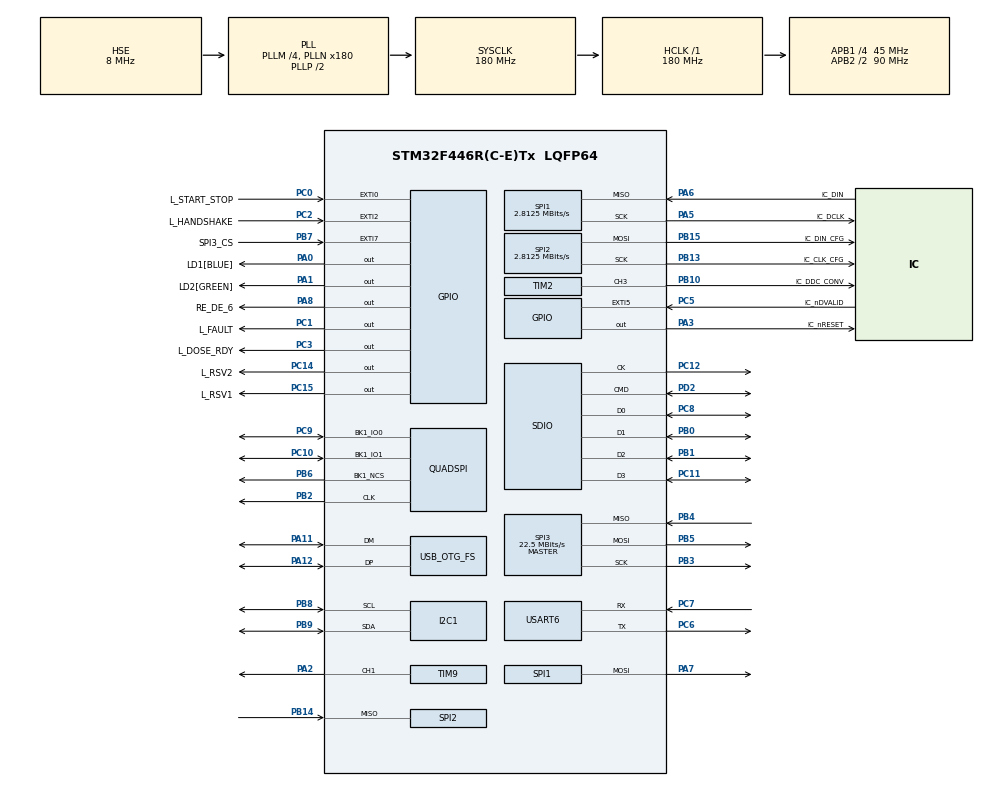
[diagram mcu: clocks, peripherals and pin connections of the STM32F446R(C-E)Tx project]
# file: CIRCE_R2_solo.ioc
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Dma.Request0=SPI1_RX
Dma.Request1=SPI1_TX
Dma.Request2=USART6_RX
Dma.Request3=SDIO
Dma.Request4=USART6_TX
Dma.SDIO.3.Direction=DMA_PERIPH_TO_MEMORY
Dma.SDIO.3.FIFOMode=DMA_FIFOMODE_ENABLE
Dma.SDIO.3.FIFOThreshold=DMA_FIFO_THRESHOLD_FULL
Dma.SDIO.3.Instance=DMA2_Stream3
Dma.SDIO.3.MemBurst=DMA_MBURST_INC4
Dma.SDIO.3.MemDataAlignment=DMA_MDATAALIGN_WORD
Dma.SDIO.3.MemInc=DMA_MINC_ENABLE
Dma.SDIO.3.Mode=DMA_PFCTRL
Dma.SDIO.3.PeriphBurst=DMA_PBURST_INC4
Dma.SDIO.3.PeriphDataAlignment=DMA_PDATAALIGN_WORD
Dma.SDIO.3.PeriphInc=DMA_PINC_DISABLE
Dma.SDIO.3.Priority=DMA_PRIORITY_LOW
Dma.SPI1_RX.0.Direction=DMA_PERIPH_TO_MEMORY
Dma.SPI1_RX.0.FIFOMode=DMA_FIFOMODE_DISABLE
Dma.SPI1_RX.0.Instance=DMA2_Stream0
Dma.SPI1_RX.0.MemDataAlignment=DMA_MDATAALIGN_HALFWORD
Dma.SPI1_RX.0.MemInc=DMA_MINC_ENABLE
Dma.SPI1_RX.0.Mode=DMA_NORMAL
Dma.SPI1_RX.0.PeriphDataAlignment=DMA_PDATAALIGN_HALFWORD
Dma.SPI1_RX.0.PeriphInc=DMA_PINC_DISABLE
Dma.SPI1_RX.0.Priority=DMA_PRIORITY_LOW
Dma.SPI1_TX.1.Direction=DMA_MEMORY_TO_PERIPH
Dma.SPI1_TX.1.FIFOMode=DMA_FIFOMODE_DISABLE
Dma.SPI1_TX.1.Instance=DMA2_Stream5
Dma.SPI1_TX.1.MemDataAlignment=DMA_MDATAALIGN_HALFWORD
Dma.SPI1_TX.1.MemInc=DMA_MINC_ENABLE
Dma.SPI1_TX.1.Mode=DMA_NORMAL
Dma.SPI1_TX.1.PeriphDataAlignment=DMA_PDATAALIGN_HALFWORD
Dma.SPI1_TX.1.PeriphInc=DMA_PINC_DISABLE
Dma.SPI1_TX.1.Priority=DMA_PRIORITY_LOW
Dma.USART6_RX.2.Direction=DMA_PERIPH_TO_MEMORY
Dma.USART6_RX.2.FIFOMode=DMA_FIFOMODE_DISABLE
Dma.USART6_RX.2.Instance=DMA2_Stream1
Dma.USART6_RX.2.MemDataAlignment=DMA_MDATAALIGN_BYTE
Dma.USART6_RX.2.MemInc=DMA_MINC_ENABLE
Dma.USART6_RX.2.Mode=DMA_NORMAL
Dma.USART6_RX.2.PeriphDataAlignment=DMA_PDATAALIGN_BYTE
Dma.USART6_RX.2.PeriphInc=DMA_PINC_DISABLE
Dma.USART6_RX.2.Priority=DMA_PRIORITY_LOW
Dma.USART6_TX.4.Direction=DMA_MEMORY_TO_PERIPH
Dma.USART6_TX.4.FIFOMode=DMA_FIFOMODE_DISABLE
Dma.USART6_TX.4.Instance=DMA2_Stream6
Dma.USART6_TX.4.MemDataAlignment=DMA_MDATAALIGN_BYTE
Dma.USART6_TX.4.MemInc=DMA_MINC_ENABLE
Dma.USART6_TX.4.Mode=DMA_NORMAL
Dma.USART6_TX.4.PeriphDataAlignment=DMA_PDATAALIGN_BYTE
Dma.USART6_TX.4.PeriphInc=DMA_PINC_DISABLE
Dma.USART6_TX.4.Priority=DMA_PRIORITY_LOW
IWDG.Prescaler=IWDG_PRESCALER_64
IWDG.Reload=4000
Mcu.Family=STM32F4
Mcu.Name=STM32F446R(C-E)Tx
Mcu.Package=LQFP64
NVIC.DMA2_Stream0_IRQn=true\:1\:0\:false\:false\:true\:false\:true\:true
NVIC.DMA2_Stream1_IRQn=true\:0\:0\:false\:false\:true\:false\:true\:true
NVIC.DMA2_Stream3_IRQn=true\:0\:0\:false\:false\:true\:false\:true\:true
NVIC.DMA2_Stream5_IRQn=true\:0\:0\:false\:false\:true\:false\:true\:true
NVIC.DMA2_Stream6_IRQn=true\:0\:0\:false\:false\:true\:false\:true\:true
NVIC.EXTI0_IRQn=true\:0\:0\:false\:false\:true\:true\:true\:true
NVIC.EXTI2_IRQn=true\:0\:0\:false\:false\:true\:true\:true\:true
NVIC.EXTI9_5_IRQn=true\:0\:0\:false\:false\:true\:true\:true\:true
NVIC.OTG_FS_IRQn=true\:0\:0\:false\:false\:true\:false\:true\:true
NVIC.PriorityGroup=NVIC_PRIORITYGROUP_4
NVIC.SDIO_IRQn=true\:0\:0\:false\:false\:true\:true\:true\:true
NVIC.SPI1_IRQn=true\:0\:0\:false\:false\:true\:true\:true\:true
NVIC.USART6_IRQn=true\:0\:0\:false\:false\:true\:true\:true\:true
PA0-WKUP.GPIO_Label=LD1[BLUE]
PA0-WKUP.GPIO_PuPd=GPIO_PULLDOWN
PA0-WKUP.Signal=GPIO_Output
PA1.GPIO_Label=LD2[GREEN]
PA1.GPIO_PuPd=GPIO_PULLDOWN
PA1.Signal=GPIO_Output
PA11.GPIO_Speed=GPIO_SPEED_FREQ_LOW
PA11.Mode=Device_Only
PA11.Signal=USB_OTG_FS_DM
PA12.GPIO_Speed=GPIO_SPEED_FREQ_LOW
PA12.Mode=Device_Only
PA12.Signal=USB_OTG_FS_DP
PA13.Mode=Serial_Wire
PA13.Signal=SYS_JTMS-SWDIO
PA14.Mode=Serial_Wire
PA14.Signal=SYS_JTCK-SWCLK
PA2.Signal=S_TIM9_CH1
PA3.GPIO_Label=IC_nRESET
PA3.GPIO_PuPd=GPIO_PULLUP
PA3.PinState=GPIO_PIN_SET
PA3.Signal=GPIO_Output
PA5.GPIO_Label=IC_DCLK
PA5.GPIO_Mode=GPIO_MODE_AF_PP
PA5.GPIO_PuPd=GPIO_NOPULL
PA5.GPIO_Speed=GPIO_SPEED_FREQ_LOW
PA5.Mode=Full_Duplex_Master
PA5.Signal=SPI1_SCK
PA6.GPIO_Label=IC_DIN
PA6.GPIO_PuPd=GPIO_NOPULL
PA6.GPIO_Speed=GPIO_SPEED_FREQ_LOW
PA6.Mode=Full_Duplex_Master
PA6.Signal=SPI1_MISO
PA7.GPIO_Speed=GPIO_SPEED_FREQ_LOW
PA7.Mode=Full_Duplex_Master
PA7.Signal=SPI1_MOSI
PA8.GPIO_Label=RE_DE_6
PA8.GPIO_PuPd=GPIO_NOPULL
PA8.Signal=GPIO_Output
PB0.GPIO_PuPd=GPIO_PULLUP
PB0.GPIO_Speed_High_Default=GPIO_SPEED_FREQ_LOW
PB0.Mode=SD_4_bits_Wide_bus
PB0.Signal=SDIO_D1
PB1.GPIO_PuPd=GPIO_PULLUP
PB1.GPIO_Speed_High_Default=GPIO_SPEED_FREQ_LOW
PB1.Mode=SD_4_bits_Wide_bus
PB1.Signal=SDIO_D2
PB10.GPIO_Label=IC_DDC_CONV
PB10.GPIO_Speed=GPIO_SPEED_FREQ_HIGH
PB10.Signal=S_TIM2_CH3
PB13.GPIO_Label=IC_CLK_CFG
PB13.GPIO_Speed=GPIO_SPEED_FREQ_LOW
PB13.Mode=Full_Duplex_Master
PB13.Signal=SPI2_SCK
PB14.GPIO_Speed=GPIO_SPEED_FREQ_LOW
PB14.Mode=Full_Duplex_Master
PB14.Signal=SPI2_MISO
PB15.GPIO_Label=IC_DIN_CFG
PB15.GPIO_Speed=GPIO_SPEED_FREQ_LOW
PB15.Mode=Full_Duplex_Master
PB15.Signal=SPI2_MOSI
PB2.GPIO_Speed=GPIO_SPEED_FREQ_LOW
PB2.Mode=Single Bank 1 2IOs
PB2.Signal=QUADSPI_CLK
PB3.GPIO_Speed=GPIO_SPEED_FREQ_LOW
PB3.Mode=Full_Duplex_Master
PB3.Signal=SPI3_SCK
PB4.GPIO_PuPd=GPIO_NOPULL
PB4.GPIO_Speed=GPIO_SPEED_FREQ_LOW
PB4.Mode=Full_Duplex_Master
PB4.Signal=SPI3_MISO
PB5.GPIO_PuPd=GPIO_NOPULL
PB5.GPIO_Speed=GPIO_SPEED_FREQ_LOW
PB5.Mode=Full_Duplex_Master
PB5.Signal=SPI3_MOSI
PB6.GPIO_Speed=GPIO_SPEED_FREQ_LOW
PB6.Mode=Single Bank 1 2IOs
PB6.Signal=QUADSPI_BK1_NCS
PB7.GPIO_Label=SPI3_CS
PB7.GPIO_PuPd=GPIO_PULLDOWN
PB7.Signal=GPXTI7
PB8.GPIO_Speed=GPIO_SPEED_FREQ_LOW
PB8.Mode=I2C
PB8.Signal=I2C1_SCL
PB9.GPIO_Speed=GPIO_SPEED_FREQ_LOW
PB9.Mode=I2C
PB9.Signal=I2C1_SDA
PC0.GPIO_Label=L_START_STOP
PC0.GPIO_PuPd=GPIO_NOPULL
PC0.Signal=GPXTI0
PC1.GPIO_Label=L_FAULT
PC1.GPIO_PuPd=GPIO_PULLDOWN
PC1.Signal=GPIO_Output
PC10.GPIO_Speed=GPIO_SPEED_FREQ_LOW
PC10.Mode=Single Bank 1 2IOs
PC10.Signal=QUADSPI_BK1_IO1
PC11.GPIO_PuPd=GPIO_PULLUP
PC11.GPIO_Speed_High_Default=GPIO_SPEED_FREQ_LOW
PC11.Mode=SD_4_bits_Wide_bus
PC11.Signal=SDIO_D3
PC12.GPIO_Speed_High_Default=GPIO_SPEED_FREQ_LOW
PC12.Mode=SD_4_bits_Wide_bus
PC12.Signal=SDIO_CK
PC14-OSC32_IN.GPIO_Label=L_RSV2
PC14-OSC32_IN.Signal=GPIO_Output
PC15-OSC32_OUT.GPIO_Label=L_RSV1
PC15-OSC32_OUT.Signal=GPIO_Output
PC2.GPIO_Label=L_HANDSHAKE
PC2.GPIO_ModeDefaultEXTI=GPIO_MODE_IT_RISING
PC2.Signal=GPXTI2
PC3.GPIO_Label=L_DOSE_RDY
PC3.GPIO_PuPd=GPIO_PULLDOWN
PC3.Signal=GPIO_Output
PC5.GPIO_Label=IC_nDVALID
PC5.GPIO_ModeDefaultEXTI=GPIO_MODE_IT_FALLING
PC5.GPIO_PuPd=GPIO_NOPULL
PC5.Signal=GPXTI5
PC6.GPIO_PuPd=GPIO_NOPULL
PC6.GPIO_Speed=GPIO_SPEED_FREQ_LOW
PC6.Mode=Asynchronous
PC6.Signal=USART6_TX
PC7.GPIO_Speed=GPIO_SPEED_FREQ_LOW
PC7.Mode=Asynchronous
PC7.Signal=USART6_RX
PC8.GPIO_PuPd=GPIO_PULLUP
PC8.GPIO_Speed_High_Default=GPIO_SPEED_FREQ_LOW
PC8.Mode=SD_4_bits_Wide_bus
PC8.Signal=SDIO_D0
PC9.GPIO_Speed=GPIO_SPEED_FREQ_LOW
PC9.Mode=Single Bank 1 2IOs
PC9.Signal=QUADSPI_BK1_IO0
PD2.GPIO_PuPd=GPIO_PULLUP
PD2.GPIO_Speed_High_Default=GPIO_SPEED_FREQ_LOW
PD2.Mode=SD_4_bits_Wide_bus
PD2.Signal=SDIO_CMD
PH0-OSC_IN.Mode=HSE-External-Oscillator
PH0-OSC_IN.Signal=RCC_OSC_IN
PH1-OSC_OUT.Mode=HSE-External-Oscillator
PH1-OSC_OUT.Signal=RCC_OSC_OUT
ProjectManager.HeapSize=0x200
ProjectManager.StackSize=0x400
ProjectManager.TargetToolchain=STM32CubeIDE
QUADSPI.SampleShifting=QSPI_SAMPLE_SHIFTING_NONE
RCC.AHBFreq_Value=180000000
RCC.APB1CLKDivider=RCC_HCLK_DIV4
RCC.APB1Freq_Value=45000000
RCC.APB1TimFreq_Value=90000000
RCC.APB2CLKDivider=RCC_HCLK_DIV2
RCC.APB2Freq_Value=90000000
RCC.APB2TimFreq_Value=180000000
RCC.CortexFreq_Value=180000000
RCC.HCLKFreq_Value=180000000
RCC.HSE_VALUE=8000000
RCC.PLLI2SM=8
RCC.PLLI2SN=100
RCC.PLLM=4
RCC.PLLN=180
RCC.PLLQ=7
RCC.PLLSAIM=4
RCC.PLLSAIP=RCC_PLLSAIP_DIV8
RCC.PLLSourceVirtual=RCC_PLLSOURCE_HSE
RCC.RCC_MCO2Source=RCC_MCO2SOURCE_HSE
RCC.RCC_MCODiv1=RCC_MCODIV_4
RCC.SYSCLKFreq_VALUE=180000000
RCC.SYSCLKSource=RCC_SYSCLKSOURCE_PLLCLK
RCC.USBCLockSelection=RCC_CLK48CLKSOURCE_PLLSAIP
RCC.USBFreq_Value=48000000
RCC.VCOOutputFreq_Value=360000000
SH.S_TIM2_CH3.0=TIM2_CH3,PWM Generation3 CH3
SH.S_TIM9_CH1.0=TIM9_CH1,PWM Generation1 CH1
SPI1.BaudRatePrescaler=SPI_BAUDRATEPRESCALER_32
SPI1.CalculateBaudRate=2.8125 MBits/s
SPI1.DataSize=SPI_DATASIZE_16BIT
SPI1.Direction=SPI_DIRECTION_2LINES
SPI1.Mode=SPI_MODE_MASTER
SPI1.VirtualType=VM_MASTER
SPI2.BaudRatePrescaler=SPI_BAUDRATEPRESCALER_16
SPI2.CalculateBaudRate=2.8125 MBits/s
SPI2.DataSize=SPI_DATASIZE_16BIT
SPI2.Direction=SPI_DIRECTION_2LINES
SPI2.Mode=SPI_MODE_MASTER
SPI2.VirtualType=VM_MASTER
SPI3.BaudRatePrescaler=SPI_BAUDRATEPRESCALER_2
SPI3.CalculateBaudRate=22.5 MBits/s
SPI3.Direction=SPI_DIRECTION_2LINES
SPI3.Mode=SPI_MODE_MASTER
SPI3.VirtualType=VM_MASTER
TIM2.Channel-PWM\ Generation3\ CH3=TIM_CHANNEL_3
TIM2.Period=499
TIM2.Prescaler=89
TIM9.Channel-PWM\ Generation1\ CH1=TIM_CHANNEL_1
TIM9.Period=17
TIM9.Pulse-PWM\ Generation1\ CH1=8
USART6.VirtualMode=VM_ASYNC
USB_DEVICE.CLASS_NAME_FS=CDC
USB_DEVICE.VirtualMode-CDC_FS=Cdc
USB_DEVICE.VirtualModeFS=Cdc_FS
USB_OTG_FS.VirtualMode=Device_Only
VP_IWDG_VS_IWDG.Mode=IWDG_Activate
VP_TIM2_VS_ClockSourceINT.Mode=Internal
VP_USB_DEVICE_VS_USB_DEVICE_CDC_FS.Mode=CDC_FS
board=custom

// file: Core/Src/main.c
/* USER CODE BEGIN Header */
/**
 ******************************************************************************
 * @file           : main.c
 * @brief          : Main program body
 ******************************************************************************
 * @attention
 *
 * Copyright (c) 2025 STMicroelectronics.
 * All rights reserved.
 *
 * This software is licensed under terms that can be found in the LICENSE file
 * in the root directory of this software component.
 * If no LICENSE file comes with this software, it is provided AS-IS.
 *
 ******************************************************************************
 */
/* USER CODE END Header */
#include "main.h"
#include "usb_device.h"

/* USER CODE BEGIN Includes */
#include "usbd_cdc_if.h"
#include "IC_ADC64.h"
#include "USART_cmd.h"
#include "delay_micros.h"
#include "common.h"
/* USER CODE END Includes */

/* USER CODE BEGIN PD */
#define USB_BUFFLEN 500
/* USER CODE END PD */

I2C_HandleTypeDef hi2c1;

IWDG_HandleTypeDef hiwdg;

QSPI_HandleTypeDef hqspi;

SD_HandleTypeDef hsd;
DMA_HandleTypeDef hdma_sdio;

SPI_HandleTypeDef hspi1;
SPI_HandleTypeDef hspi2;
SPI_HandleTypeDef hspi3;
DMA_HandleTypeDef hdma_spi1_rx;
DMA_HandleTypeDef hdma_spi1_tx;

TIM_HandleTypeDef htim2;
TIM_HandleTypeDef htim9;

UART_HandleTypeDef huart6;
DMA_HandleTypeDef hdma_usart6_rx;
DMA_HandleTypeDef hdma_usart6_tx;

/* USER CODE BEGIN PV */
extern char str[100];
volatile uint8_t rx_index = 0;
volatile uint8_t reception_complete = 0;
extern void string_parse();
extern void IC_Read_cmd_UART();
extern bool USART_CMD_ON;
//extern IC_Data_t IC_Data;
volatile IC_state state;
//extern bool USART_CMD_ON;
extern IC_Mode_t IC_Mode;
uint8_t usbTxBuf[USB_BUFFLEN];
uint16_t usbTxBufLen;
uint8_t usbRxBuf[USB_BUFFLEN];
uint16_t usbRxBufLen;
volatile bool usbRxFlag;
bool irq_on_off;
bool line_is_busy = false;
bool start_reading = false;
//RTC_TimeTypeDef sTime = {0};
//RTC_DateTypeDef DateToUpdate = {0};
/* USER CODE END PV */

void SystemClock_Config(void);
void PeriphCommonClock_Config(void);
static void MX_GPIO_Init(void);
static void MX_DMA_Init(void);
static void MX_SPI1_Init(void);
static void MX_SPI2_Init(void);
static void MX_TIM2_Init(void);
static void MX_SPI3_Init(void);
static void MX_SDIO_SD_Init(void);
static void MX_USART6_UART_Init(void);
static void MX_I2C1_Init(void);
static void MX_QUADSPI_Init(void);
static void MX_TIM9_Init(void);
static void MX_IWDG_Init(void);
/* USER CODE BEGIN PFP */
void Reset_SPI_DMA();
/* USER CODE END PFP */

int main(void)
{

  /* MCU Configuration--------------------------------------------------------*/

  /* Reset of all peripherals, Initializes the Flash interface and the Systick. */
  HAL_Init();

  /* Configure the system clock */
  SystemClock_Config();

  /* Configure the peripherals common clocks */
  PeriphCommonClock_Config();

  /* Initialize all configured peripherals */
  MX_GPIO_Init();
  MX_DMA_Init();
  MX_SPI1_Init();
  MX_SPI2_Init();
  MX_TIM2_Init();
  MX_USB_DEVICE_Init();
  MX_SPI3_Init();
  MX_SDIO_SD_Init();
  MX_USART6_UART_Init();
  MX_I2C1_Init();
  MX_QUADSPI_Init();
  MX_TIM9_Init();
  MX_IWDG_Init();
  /* USER CODE BEGIN 2 */
  HAL_UART_Receive_DMA(&out_huart, (uint8_t*)str, 10);
  //set parse function for uart
  USART_set_parse_func(IC_Read_cmd_UART);

  DWT_Init();	//start us timer
  HAL_GPIO_WritePin(LD1_GPIO_Port,LD1_Pin,SET);
  HAL_GPIO_WritePin(LD2_GPIO_Port,LD2_Pin,SET);
  HAL_Delay(500);
  HAL_GPIO_WritePin(LD1_GPIO_Port,LD1_Pin,RESET);
  HAL_GPIO_WritePin(LD2_GPIO_Port,LD2_Pin,RESET);
  printf("[INFO] START F4\n");
  state = STATE_WAIT;
  HAL_TIM_PWM_Start(&clk_timer, clk_channel); //start clk

  /* USER CODE END 2 */

  /* Infinite loop */
	while (1)
	{

    /* USER CODE BEGIN 3 */
		switch(state){
		case STATE_WAIT:
			break;
		case STATE_READING:
			state = STATE_WAIT;
			IC_ReadADC();
			break;
		case STATE_PROCESSING:
			state = STATE_WAIT;
			IC_ReadADC_Complete();
			break;
		case STATE_CMD:
			IC_Read_cmd_UART(str);
			state = STATE_WAIT;
			break;

		}

		if(usbRxFlag == true){
			usbRxFlag = false;
			string_parse((char*)usbRxBuf);
		}

		//HAL_GPIO_TogglePin(test_GPIO_Port,test_Pin);
	}
  /* USER CODE END 3 */
}

void SystemClock_Config(void)
{
  RCC_OscInitTypeDef RCC_OscInitStruct = {0};
  RCC_ClkInitTypeDef RCC_ClkInitStruct = {0};

  /** Configure the main internal regulator output voltage
  */
  __HAL_RCC_PWR_CLK_ENABLE();
  __HAL_PWR_VOLTAGESCALING_CONFIG(PWR_REGULATOR_VOLTAGE_SCALE1);

  /** Initializes the RCC Oscillators according to the specified parameters
  * in the RCC_OscInitTypeDef structure.
  */
  RCC_OscInitStruct.OscillatorType = RCC_OSCILLATORTYPE_LSI|RCC_OSCILLATORTYPE_HSE;
  RCC_OscInitStruct.HSEState = RCC_HSE_ON;
  RCC_OscInitStruct.LSIState = RCC_LSI_ON;
  RCC_OscInitStruct.PLL.PLLState = RCC_PLL_ON;
  RCC_OscInitStruct.PLL.PLLSource = RCC_PLLSOURCE_HSE;
  RCC_OscInitStruct.PLL.PLLM = 4;
  RCC_OscInitStruct.PLL.PLLN = 180;
  RCC_OscInitStruct.PLL.PLLP = RCC_PLLP_DIV2;
  RCC_OscInitStruct.PLL.PLLQ = 7;
  RCC_OscInitStruct.PLL.PLLR = 2;
  if (HAL_RCC_OscConfig(&RCC_OscInitStruct) != HAL_OK)
  {
    Error_Handler();
  }

  /** Activate the Over-Drive mode
  */
  if (HAL_PWREx_EnableOverDrive() != HAL_OK)
  {
    Error_Handler();
  }

  /** Initializes the CPU, AHB and APB buses clocks
  */
  RCC_ClkInitStruct.ClockType = RCC_CLOCKTYPE_HCLK|RCC_CLOCKTYPE_SYSCLK
                              |RCC_CLOCKTYPE_PCLK1|RCC_CLOCKTYPE_PCLK2;
  RCC_ClkInitStruct.SYSCLKSource = RCC_SYSCLKSOURCE_PLLCLK;
  RCC_ClkInitStruct.AHBCLKDivider = RCC_SYSCLK_DIV1;
  RCC_ClkInitStruct.APB1CLKDivider = RCC_HCLK_DIV4;
  RCC_ClkInitStruct.APB2CLKDivider = RCC_HCLK_DIV2;

  if (HAL_RCC_ClockConfig(&RCC_ClkInitStruct, FLASH_LATENCY_5) != HAL_OK)
  {
    Error_Handler();
  }
}

void PeriphCommonClock_Config(void)
{
  RCC_PeriphCLKInitTypeDef PeriphClkInitStruct = {0};

  /** Initializes the peripherals clock
  */
  PeriphClkInitStruct.PeriphClockSelection = RCC_PERIPHCLK_SDIO|RCC_PERIPHCLK_CLK48;
  PeriphClkInitStruct.PLLSAI.PLLSAIM = 4;
  PeriphClkInitStruct.PLLSAI.PLLSAIN = 192;
  PeriphClkInitStruct.PLLSAI.PLLSAIQ = 2;
  PeriphClkInitStruct.PLLSAI.PLLSAIP = RCC_PLLSAIP_DIV8;
  PeriphClkInitStruct.PLLSAIDivQ = 1;
  PeriphClkInitStruct.Clk48ClockSelection = RCC_CLK48CLKSOURCE_PLLSAIP;
  PeriphClkInitStruct.SdioClockSelection = RCC_SDIOCLKSOURCE_CLK48;
  if (HAL_RCCEx_PeriphCLKConfig(&PeriphClkInitStruct) != HAL_OK)
  {
    Error_Handler();
  }
}

static void MX_I2C1_Init(void)
{

  hi2c1.Instance = I2C1;
  hi2c1.Init.ClockSpeed = 100000;
  hi2c1.Init.DutyCycle = I2C_DUTYCYCLE_2;
  hi2c1.Init.OwnAddress1 = 0;
  hi2c1.Init.AddressingMode = I2C_ADDRESSINGMODE_7BIT;
  hi2c1.Init.DualAddressMode = I2C_DUALADDRESS_DISABLE;
  hi2c1.Init.OwnAddress2 = 0;
  hi2c1.Init.GeneralCallMode = I2C_GENERALCALL_DISABLE;
  hi2c1.Init.NoStretchMode = I2C_NOSTRETCH_DISABLE;
  if (HAL_I2C_Init(&hi2c1) != HAL_OK)
  {
    Error_Handler();
  }

}

static void MX_IWDG_Init(void)
{

  hiwdg.Instance = IWDG;
  hiwdg.Init.Prescaler = IWDG_PRESCALER_64;
  hiwdg.Init.Reload = 4000;
  if (HAL_IWDG_Init(&hiwdg) != HAL_OK)
  {
    Error_Handler();
  }

}

static void MX_QUADSPI_Init(void)
{

  /* QUADSPI parameter configuration*/
  hqspi.Instance = QUADSPI;
  hqspi.Init.ClockPrescaler = 255;
  hqspi.Init.FifoThreshold = 1;
  hqspi.Init.SampleShifting = QSPI_SAMPLE_SHIFTING_NONE;
  hqspi.Init.FlashSize = 1;
  hqspi.Init.ChipSelectHighTime = QSPI_CS_HIGH_TIME_1_CYCLE;
  hqspi.Init.ClockMode = QSPI_CLOCK_MODE_0;
  hqspi.Init.FlashID = QSPI_FLASH_ID_1;
  hqspi.Init.DualFlash = QSPI_DUALFLASH_DISABLE;
  if (HAL_QSPI_Init(&hqspi) != HAL_OK)
  {
    Error_Handler();
  }

}

static void MX_SDIO_SD_Init(void)
{

  hsd.Instance = SDIO;
  hsd.Init.ClockEdge = SDIO_CLOCK_EDGE_RISING;
  hsd.Init.ClockBypass = SDIO_CLOCK_BYPASS_DISABLE;
  hsd.Init.ClockPowerSave = SDIO_CLOCK_POWER_SAVE_DISABLE;
  hsd.Init.BusWide = SDIO_BUS_WIDE_1B;
  hsd.Init.HardwareFlowControl = SDIO_HARDWARE_FLOW_CONTROL_DISABLE;
  hsd.Init.ClockDiv = 0;
  if (HAL_SD_Init(&hsd) != HAL_OK)
  {
    Error_Handler();
  }
  if (HAL_SD_ConfigWideBusOperation(&hsd, SDIO_BUS_WIDE_4B) != HAL_OK)
  {
    Error_Handler();
  }

}

static void MX_SPI1_Init(void)
{

  /* SPI1 parameter configuration*/
  hspi1.Instance = SPI1;
  hspi1.Init.Mode = SPI_MODE_MASTER;
  hspi1.Init.Direction = SPI_DIRECTION_2LINES;
  hspi1.Init.DataSize = SPI_DATASIZE_16BIT;
  hspi1.Init.CLKPolarity = SPI_POLARITY_LOW;
  hspi1.Init.CLKPhase = SPI_PHASE_1EDGE;
  hspi1.Init.NSS = SPI_NSS_SOFT;
  hspi1.Init.BaudRatePrescaler = SPI_BAUDRATEPRESCALER_32;
  hspi1.Init.FirstBit = SPI_FIRSTBIT_MSB;
  hspi1.Init.TIMode = SPI_TIMODE_DISABLE;
  hspi1.Init.CRCCalculation = SPI_CRCCALCULATION_DISABLE;
  hspi1.Init.CRCPolynomial = 10;
  if (HAL_SPI_Init(&hspi1) != HAL_OK)
  {
    Error_Handler();
  }

}

static void MX_SPI2_Init(void)
{

  /* SPI2 parameter configuration*/
  hspi2.Instance = SPI2;
  hspi2.Init.Mode = SPI_MODE_MASTER;
  hspi2.Init.Direction = SPI_DIRECTION_2LINES;
  hspi2.Init.DataSize = SPI_DATASIZE_16BIT;
  hspi2.Init.CLKPolarity = SPI_POLARITY_LOW;
  hspi2.Init.CLKPhase = SPI_PHASE_1EDGE;
  hspi2.Init.NSS = SPI_NSS_SOFT;
  hspi2.Init.BaudRatePrescaler = SPI_BAUDRATEPRESCALER_16;
  hspi2.Init.FirstBit = SPI_FIRSTBIT_MSB;
  hspi2.Init.TIMode = SPI_TIMODE_DISABLE;
  hspi2.Init.CRCCalculation = SPI_CRCCALCULATION_DISABLE;
  hspi2.Init.CRCPolynomial = 10;
  if (HAL_SPI_Init(&hspi2) != HAL_OK)
  {
    Error_Handler();
  }

}

static void MX_SPI3_Init(void)
{

  /* SPI3 parameter configuration*/
  hspi3.Instance = SPI3;
  hspi3.Init.Mode = SPI_MODE_MASTER;
  hspi3.Init.Direction = SPI_DIRECTION_2LINES;
  hspi3.Init.DataSize = SPI_DATASIZE_8BIT;
  hspi3.Init.CLKPolarity = SPI_POLARITY_LOW;
  hspi3.Init.CLKPhase = SPI_PHASE_1EDGE;
  hspi3.Init.NSS = SPI_NSS_SOFT;
  hspi3.Init.BaudRatePrescaler = SPI_BAUDRATEPRESCALER_2;
  hspi3.Init.FirstBit = SPI_FIRSTBIT_MSB;
  hspi3.Init.TIMode = SPI_TIMODE_DISABLE;
  hspi3.Init.CRCCalculation = SPI_CRCCALCULATION_DISABLE;
  hspi3.Init.CRCPolynomial = 10;
  if (HAL_SPI_Init(&hspi3) != HAL_OK)
  {
    Error_Handler();
  }

}

static void MX_TIM2_Init(void)
{

  TIM_ClockConfigTypeDef sClockSourceConfig = {0};
  TIM_MasterConfigTypeDef sMasterConfig = {0};
  TIM_OC_InitTypeDef sConfigOC = {0};

  htim2.Instance = TIM2;
  htim2.Init.Prescaler = 89;
  htim2.Init.CounterMode = TIM_COUNTERMODE_UP;
  htim2.Init.Period = 499;
  htim2.Init.ClockDivision = TIM_CLOCKDIVISION_DIV1;
  htim2.Init.AutoReloadPreload = TIM_AUTORELOAD_PRELOAD_DISABLE;
  if (HAL_TIM_Base_Init(&htim2) != HAL_OK)
  {
    Error_Handler();
  }
  sClockSourceConfig.ClockSource = TIM_CLOCKSOURCE_INTERNAL;
  if (HAL_TIM_ConfigClockSource(&htim2, &sClockSourceConfig) != HAL_OK)
  {
    Error_Handler();
  }
  if (HAL_TIM_PWM_Init(&htim2) != HAL_OK)
  {
    Error_Handler();
  }
  sMasterConfig.MasterOutputTrigger = TIM_TRGO_RESET;
  sMasterConfig.MasterSlaveMode = TIM_MASTERSLAVEMODE_DISABLE;
  if (HAL_TIMEx_MasterConfigSynchronization(&htim2, &sMasterConfig) != HAL_OK)
  {
    Error_Handler();
  }
  sConfigOC.OCMode = TIM_OCMODE_PWM1;
  sConfigOC.Pulse = 0;
  sConfigOC.OCPolarity = TIM_OCPOLARITY_HIGH;
  sConfigOC.OCFastMode = TIM_OCFAST_DISABLE;
  if (HAL_TIM_PWM_ConfigChannel(&htim2, &sConfigOC, TIM_CHANNEL_3) != HAL_OK)
  {
    Error_Handler();
  }
  HAL_TIM_MspPostInit(&htim2);

}

static void MX_TIM9_Init(void)
{

  TIM_OC_InitTypeDef sConfigOC = {0};

  htim9.Instance = TIM9;
  htim9.Init.Prescaler = 0;
  htim9.Init.CounterMode = TIM_COUNTERMODE_UP;
  htim9.Init.Period = 17;
  htim9.Init.ClockDivision = TIM_CLOCKDIVISION_DIV1;
  htim9.Init.AutoReloadPreload = TIM_AUTORELOAD_PRELOAD_DISABLE;
  if (HAL_TIM_PWM_Init(&htim9) != HAL_OK)
  {
    Error_Handler();
  }
  sConfigOC.OCMode = TIM_OCMODE_PWM1;
  sConfigOC.Pulse = 8;
  sConfigOC.OCPolarity = TIM_OCPOLARITY_HIGH;
  sConfigOC.OCFastMode = TIM_OCFAST_DISABLE;
  if (HAL_TIM_PWM_ConfigChannel(&htim9, &sConfigOC, TIM_CHANNEL_1) != HAL_OK)
  {
    Error_Handler();
  }
  HAL_TIM_MspPostInit(&htim9);

}

static void MX_USART6_UART_Init(void)
{

  huart6.Instance = USART6;
  huart6.Init.BaudRate = 115200;
  huart6.Init.WordLength = UART_WORDLENGTH_8B;
  huart6.Init.StopBits = UART_STOPBITS_1;
  huart6.Init.Parity = UART_PARITY_NONE;
  huart6.Init.Mode = UART_MODE_TX_RX;
  huart6.Init.HwFlowCtl = UART_HWCONTROL_NONE;
  huart6.Init.OverSampling = UART_OVERSAMPLING_16;
  if (HAL_UART_Init(&huart6) != HAL_OK)
  {
    Error_Handler();
  }

}

static void MX_DMA_Init(void)
{

  /* DMA controller clock enable */
  __HAL_RCC_DMA2_CLK_ENABLE();

  /* DMA interrupt init */
  /* DMA2_Stream0_IRQn interrupt configuration */
  HAL_NVIC_SetPriority(DMA2_Stream0_IRQn, 1, 0);
  HAL_NVIC_EnableIRQ(DMA2_Stream0_IRQn);
  /* DMA2_Stream1_IRQn interrupt configuration */
  HAL_NVIC_SetPriority(DMA2_Stream1_IRQn, 0, 0);
  HAL_NVIC_EnableIRQ(DMA2_Stream1_IRQn);
  /* DMA2_Stream3_IRQn interrupt configuration */
  HAL_NVIC_SetPriority(DMA2_Stream3_IRQn, 0, 0);
  HAL_NVIC_EnableIRQ(DMA2_Stream3_IRQn);
  /* DMA2_Stream5_IRQn interrupt configuration */
  HAL_NVIC_SetPriority(DMA2_Stream5_IRQn, 0, 0);
  HAL_NVIC_EnableIRQ(DMA2_Stream5_IRQn);
  /* DMA2_Stream6_IRQn interrupt configuration */
  HAL_NVIC_SetPriority(DMA2_Stream6_IRQn, 0, 0);
  HAL_NVIC_EnableIRQ(DMA2_Stream6_IRQn);

}

static void MX_GPIO_Init(void)
{
  GPIO_InitTypeDef GPIO_InitStruct = {0};

  /* GPIO Ports Clock Enable */
  __HAL_RCC_GPIOC_CLK_ENABLE();
  __HAL_RCC_GPIOH_CLK_ENABLE();
  __HAL_RCC_GPIOA_CLK_ENABLE();
  __HAL_RCC_GPIOB_CLK_ENABLE();
  __HAL_RCC_GPIOD_CLK_ENABLE();

  /*Configure GPIO pin Output Level */
  HAL_GPIO_WritePin(GPIOC, L_RSV2_Pin|L_RSV1_Pin|L_FAULT_Pin|L_DOSE_RDY_Pin, GPIO_PIN_RESET);

  /*Configure GPIO pin Output Level */
  HAL_GPIO_WritePin(GPIOA, LD1_Pin|LD2_Pin|RE_DE_6_Pin, GPIO_PIN_RESET);

  /*Configure GPIO pin Output Level */
  HAL_GPIO_WritePin(IC_nRESET_GPIO_Port, IC_nRESET_Pin, GPIO_PIN_SET);

  /*Configure GPIO pins : PC13 PC4 */
  GPIO_InitStruct.Pin = GPIO_PIN_13|GPIO_PIN_4;
  GPIO_InitStruct.Mode = GPIO_MODE_ANALOG;
  GPIO_InitStruct.Pull = GPIO_NOPULL;
  HAL_GPIO_Init(GPIOC, &GPIO_InitStruct);

  /*Configure GPIO pins : L_RSV2_Pin L_RSV1_Pin */
  GPIO_InitStruct.Pin = L_RSV2_Pin|L_RSV1_Pin;
  GPIO_InitStruct.Mode = GPIO_MODE_OUTPUT_PP;
  GPIO_InitStruct.Pull = GPIO_NOPULL;
  GPIO_InitStruct.Speed = GPIO_SPEED_FREQ_LOW;
  HAL_GPIO_Init(GPIOC, &GPIO_InitStruct);

  /*Configure GPIO pins : L_START_STOP_Pin L_HANDSHAKE_Pin */
  GPIO_InitStruct.Pin = L_START_STOP_Pin|L_HANDSHAKE_Pin;
  GPIO_InitStruct.Mode = GPIO_MODE_IT_RISING;
  GPIO_InitStruct.Pull = GPIO_NOPULL;
  HAL_GPIO_Init(GPIOC, &GPIO_InitStruct);

  /*Configure GPIO pins : L_FAULT_Pin L_DOSE_RDY_Pin */
  GPIO_InitStruct.Pin = L_FAULT_Pin|L_DOSE_RDY_Pin;
  GPIO_InitStruct.Mode = GPIO_MODE_OUTPUT_PP;
  GPIO_InitStruct.Pull = GPIO_PULLDOWN;
  GPIO_InitStruct.Speed = GPIO_SPEED_FREQ_LOW;
  HAL_GPIO_Init(GPIOC, &GPIO_InitStruct);

  /*Configure GPIO pins : LD1_Pin LD2_Pin */
  GPIO_InitStruct.Pin = LD1_Pin|LD2_Pin;
  GPIO_InitStruct.Mode = GPIO_MODE_OUTPUT_PP;
  GPIO_InitStruct.Pull = GPIO_PULLDOWN;
  GPIO_InitStruct.Speed = GPIO_SPEED_FREQ_LOW;
  HAL_GPIO_Init(GPIOA, &GPIO_InitStruct);

  /*Configure GPIO pin : IC_nRESET_Pin */
  GPIO_InitStruct.Pin = IC_nRESET_Pin;
  GPIO_InitStruct.Mode = GPIO_MODE_OUTPUT_PP;
  GPIO_InitStruct.Pull = GPIO_PULLUP;
  GPIO_InitStruct.Speed = GPIO_SPEED_FREQ_LOW;
  HAL_GPIO_Init(IC_nRESET_GPIO_Port, &GPIO_InitStruct);

  /*Configure GPIO pins : PA4 PA9 PA10 PA15 */
  GPIO_InitStruct.Pin = GPIO_PIN_4|GPIO_PIN_9|GPIO_PIN_10|GPIO_PIN_15;
  GPIO_InitStruct.Mode = GPIO_MODE_ANALOG;
  GPIO_InitStruct.Pull = GPIO_NOPULL;
  HAL_GPIO_Init(GPIOA, &GPIO_InitStruct);

  /*Configure GPIO pin : IC_nDVALID_Pin */
  GPIO_InitStruct.Pin = IC_nDVALID_Pin;
  GPIO_InitStruct.Mode = GPIO_MODE_IT_FALLING;
  GPIO_InitStruct.Pull = GPIO_NOPULL;
  HAL_GPIO_Init(IC_nDVALID_GPIO_Port, &GPIO_InitStruct);

  /*Configure GPIO pin : PB12 */
  GPIO_InitStruct.Pin = GPIO_PIN_12;
  GPIO_InitStruct.Mode = GPIO_MODE_ANALOG;
  GPIO_InitStruct.Pull = GPIO_NOPULL;
  HAL_GPIO_Init(GPIOB, &GPIO_InitStruct);

  /*Configure GPIO pin : RE_DE_6_Pin */
  GPIO_InitStruct.Pin = RE_DE_6_Pin;
  GPIO_InitStruct.Mode = GPIO_MODE_OUTPUT_PP;
  GPIO_InitStruct.Pull = GPIO_NOPULL;
  GPIO_InitStruct.Speed = GPIO_SPEED_FREQ_LOW;
  HAL_GPIO_Init(RE_DE_6_GPIO_Port, &GPIO_InitStruct);

  /*Configure GPIO pin : SPI3_CS_Pin */
  GPIO_InitStruct.Pin = SPI3_CS_Pin;
  GPIO_InitStruct.Mode = GPIO_MODE_IT_RISING;
  GPIO_InitStruct.Pull = GPIO_PULLDOWN;
  HAL_GPIO_Init(SPI3_CS_GPIO_Port, &GPIO_InitStruct);

  /* EXTI interrupt init*/
  HAL_NVIC_SetPriority(EXTI0_IRQn, 0, 0);
  HAL_NVIC_EnableIRQ(EXTI0_IRQn);

  HAL_NVIC_SetPriority(EXTI2_IRQn, 0, 0);
  HAL_NVIC_EnableIRQ(EXTI2_IRQn);

  HAL_NVIC_SetPriority(EXTI9_5_IRQn, 0, 0);
  HAL_NVIC_EnableIRQ(EXTI9_5_IRQn);

}

/* USER CODE BEGIN 4 */
int _write(int file, char *ptr, int len)
{
	(void)file;
	if(file == 1){
			USART_enable_tx();
			HAL_UART_Transmit(&out_huart,(uint8_t*)ptr,len,HAL_MAX_DELAY);
			USART_enable_rx();

//		static uint8_t rc = USBD_OK;
//
//		do {
//			rc = CDC_Transmit_FS((uint8_t*)ptr, len);
//		} while (USBD_BUSY == rc);
//
//		if (USBD_FAIL == rc) {
//			/// NOTE: Should never reach here.
//			/// TODO: Handle this error.
//			return 0;
//		}

	}
	return len;
}

void HAL_UART_RxCpltCallback(UART_HandleTypeDef *huart)
{
	if(huart==&out_huart)
	{
		// 1. Останавливаем DMA
		//HAL_UART_DMAStop(&out_huart);

		//	        // 2. Очищаем флаг ORE (самая частая проблема!)
		//	        if(__HAL_UART_GET_FLAG(&mcu_huart, UART_FLAG_ORE))
		//	        {
		//	            __HAL_UART_CLEAR_OREFLAG(&mcu_huart);
		//	        }

		// 3. Обрабатываем команду
		//	        state = STATE_CMD;
//		IC_ReadADC_off();
//		IC_Read_cmd_UART(str);
//		IC_ReadADC_on();
		state = STATE_CMD;
		// 4. Перезапускаем DMA с задержкой
		//HAL_Delay(1);  // Минимальная задержка
		HAL_UART_Receive_DMA(&out_huart, (uint8_t*)str, 10);
	}
}

void HAL_SPI_TxRxCpltCallback(SPI_HandleTypeDef *hspi){
	HAL_GPIO_TogglePin(LD2_GPIO_Port,LD2_Pin);
	if(hspi == &data_spi){
		state = STATE_PROCESSING;
	}
}

void HAL_SPI_TxRxHalfCpltCallback(SPI_HandleTypeDef *hspi){
	HAL_GPIO_TogglePin(LD2_GPIO_Port,LD2_Pin);
	if(hspi == &data_spi){
	}
}

//void SPI_DMAHalfTransmitReceiveCplt(DMA_HandleTypeDef *hdma){
//	if(hdma == & hdma_spi1_rx){
//			IC_ReadADC_Complete();
//		}
//}

void HAL_GPIO_EXTI_Callback(uint16_t GPIO_Pin)
{
	if(GPIO_Pin == IC_nDVALID_Pin && state != STATE_CMD) {
		state = STATE_READING;
	}
//	else if(IC_PC_Int_Pin){
//		IC_ADC_To_PC();
//	}
//	else if (GPIO_Pin == IC_EXT_TRIG_Pin && IC_Mode.ext_trigger_mode == IC_EXT_TRIGGER_ON) {
//		IC_Ext_Trig();
//	}
}

void Reset_SPI(SPI_HandleTypeDef *hspi, char *str) {
	// Deinit SPI
	HAL_SPI_DeInit(hspi);

	// Init SPI
	if (HAL_SPI_Init(hspi) != HAL_OK) {
		printf("[ERROR] Failed to reinitialize %s SPI\n",str);
	} else {
		printf("[INFO] %s SPI reinitialized successfully\n",str);
	}
}

void Reset_SPI_DMA(SPI_HandleTypeDef *hspi, char *str) {
	// stop DMA
	HAL_DMA_Abort(hspi->hdmatx);
	HAL_DMA_Abort(hspi->hdmarx);

	// Deinit SPI
	HAL_SPI_DeInit(hspi);

	// Init SPI
	if (HAL_SPI_Init(hspi) != HAL_OK) {
		printf("[ERROR] Failed to reinitialize %s SPI\n",str);
	} else {
		printf("[INFO] %s SPI and DMA reinitialized successfully\n",str);
	}
}

/**
 * @brief SPI Error Callback
 */
void HAL_SPI_ErrorCallback(SPI_HandleTypeDef *hspi)
{
	if(hspi == &data_spi) {
		// Сохраняем время ошибки для отладки
		static uint32_t last_error_time = 0;
		uint32_t current_time = HAL_GetTick();

		// Защита от спама ошибок
		if((current_time - last_error_time) < 1000) {
			return; // Не чаще 1 раза в секунду
		}
		last_error_time = current_time;

		// Получаем код ошибки
		uint32_t error_code = HAL_SPI_GetError(hspi);

		printf("\n[SPI ERROR] =================================\n");
		printf("[SPI ERROR] Time: %lu ms\n", current_time);
		printf("[SPI ERROR] Code: 0x%08lX\n", error_code);
		printf("[SPI ERROR] SPI State: %d\n", hspi->State);

		// Анализ конкретных ошибок
		if(error_code & HAL_SPI_ERROR_MODF) {
			printf("[SPI ERROR] MODF - Mode Fault\n");
			// Автоматически очищаем флаг
			__HAL_SPI_CLEAR_MODFFLAG(hspi);
		}

		if(error_code & HAL_SPI_ERROR_CRC) {
			printf("[SPI ERROR] CRC Error\n");
			__HAL_SPI_CLEAR_CRCERRFLAG(hspi);
		}

		if(error_code & HAL_SPI_ERROR_OVR) {
			printf("[SPI ERROR] OVR - Overrun Error\n");
			// Важно правильно очистить OVR флаг
			__HAL_SPI_CLEAR_OVRFLAG(hspi);
		}

		if(error_code & HAL_SPI_ERROR_FRE) {
			printf("[SPI ERROR] FRE - Frame Error\n");
			__HAL_SPI_CLEAR_FREFLAG(hspi);
		}

		if(error_code & HAL_SPI_ERROR_DMA) {
			printf("[SPI ERROR] DMA Transfer Error\n");
			printf("[SPI ERROR] DMA RX State: %d\n", hspi->hdmarx ? hspi->hdmarx->State : -1);
			printf("[SPI ERROR] DMA TX State: %d\n", hspi->hdmatx ? hspi->hdmatx->State : -1);

			// Дополнительная диагностика DMA
			if(hspi->hdmarx) {
				printf("[SPI ERROR] DMA RX NDTR: %d\n", (int)hspi->hdmarx->Instance->NDTR);
				printf("[SPI ERROR] DMA RX CR: 0x%08lX\n", hspi->hdmarx->Instance->CR);
			}
		}

		if(error_code & HAL_SPI_ERROR_FLAG) {
			printf("[SPI ERROR] FLAG - Undefined Flag Error\n");
			// Сбрасываем все флаги
			//            __HAL_SPI_CLEAR_EOTFLAG(hspi);
			//            __HAL_SPI_CLEAR_TXTFFLAG(hspi);
		}

		if(error_code & HAL_SPI_ERROR_ABORT) {
			printf("[SPI ERROR] ABORT - Transfer Aborted\n");
		}

		printf("[SPI ERROR] =================================\n\n");

		// Автоматическое восстановление
		//        SPI_Auto_Recovery(hspi);
	}
}

void SPI_Error_Handler(SPI_HandleTypeDef *hspi, char *str) {
	uint32_t error = HAL_SPI_GetError(hspi);
	if (error & HAL_SPI_ERROR_OVR) {
		printf("[ERROR] %s SPI overrun error\n",str);
	}
	if (error & HAL_SPI_ERROR_MODF) {
		printf("[ERROR] %s SPI mode fault error\n",str);
	}
	if (error & HAL_SPI_ERROR_CRC) {
		printf("[ERROR] %s SPI CRC error\n",str);
	}
	if (error & HAL_SPI_ERROR_DMA) {
		printf("[ERROR] %s SPI DMA error\n",str);
	}
	if (error & HAL_SPI_ERROR_FLAG) {
		printf("[ERROR] %s SPI flag error\n",str);
	}

	// Сброс SPI
	Reset_SPI(hspi,str);
}
void USB_RXCallback(uint8_t* Buf, uint32_t *Len){
	memcpy(usbRxBuf, Buf, *Len);
	//usbRxBufLen = *Len;
	usbRxFlag = true;
	USART_CMD_ON = 0;
	if(NVIC_GetEnableIRQ(IC_nDVALID_IRQ) != 0){
		// if(__HAL_GPIO_EXTI_GET_IT(IC_nDVALID_IRQ)){
		irq_on_off = true;
	}else{
		irq_on_off = false;
	}
	IC_ReadADC_off();
	//USB_exec_command(usbRxBuf,usbRxBufLen,usbRxFlag);
	//string_parse((char*)Buf);
}

void USB_exec_command(uint8_t* RxBuf,uint16_t RxBufLen, bool RxFlag){
	if(RxFlag && RxBufLen){
		//uint32_t timeNowMS = HAL_GetTick();
		//usbTxBufLen = snprintf((char *) usbTxBuf, USB_BUFFLEN,"[%02lu:%02lu] %u\r\n", (timeNowMS /60000), (timeNowMS / 1000)%60, usbRxBufLen);
		if(strncmp((char*)RxBuf,"on:",3)==0){
			HAL_GPIO_WritePin(LD1_GPIO_Port,LD1_Pin,SET);
			//usbTxBufLen = snprintf((char *) usbTxBuf, USB_BUFFLEN,"On\n");
			//CDC_Transmit_FS(usbTxBuf, usbTxBufLen);
			printf("On\n");
		}else if(strncmp((char*)RxBuf,"off:",4) == 0){
			HAL_GPIO_WritePin(LD1_GPIO_Port,LD1_Pin,RESET);
			printf("Off\n");
		}

		RxFlag = 0;
		RxBufLen = 0;
	}
}
/*
void Get_time(){
	HAL_RTC_GetTime(&hrtc, &sTime, RTC_FORMAT_BIN); // RTC_FORMAT_BIN , RTC_FORMAT_BCD
	printf( "\n[UPTIME] %d:%d:%d\n", sTime.Hours, sTime.Minutes, sTime.Seconds);
	HAL_RTC_GetDate(&hrtc, &DateToUpdate, RTC_FORMAT_BIN);
			//printf("Date %d-%d-20%d\n", DateToUpdate.Date, DateToUpdate.Month, DateToUpdate.Year);

}
 */
/* USER CODE END 4 */

void Error_Handler(void)
{
  /* USER CODE BEGIN Error_Handler_Debug */
	/* User can add his own implementation to report the HAL error return state */
	HAL_GPIO_WritePin(LD1_GPIO_Port, LD1_Pin, SET);
	HAL_GPIO_WritePin(LD2_GPIO_Port, LD2_Pin, RESET);
	//HAL_GPIO_WritePin(LD3_GPIO_Port, LD3_Pin, SET);
	__disable_irq();
	while (1)
	{
	}
  /* USER CODE END Error_Handler_Debug */
}
